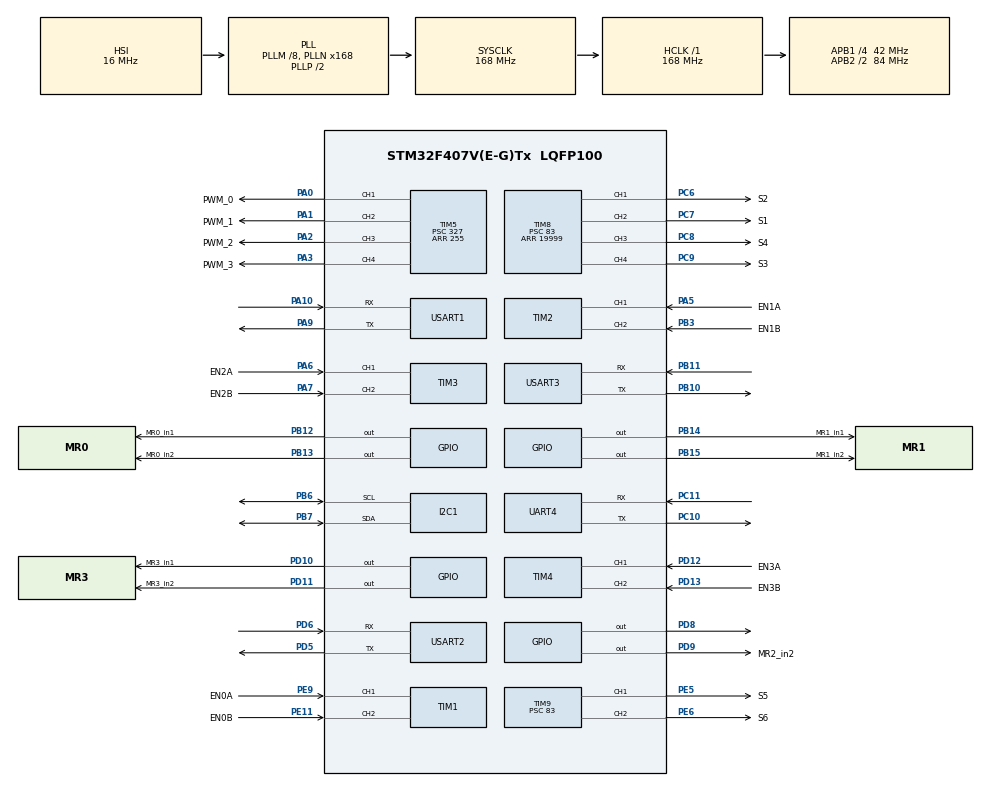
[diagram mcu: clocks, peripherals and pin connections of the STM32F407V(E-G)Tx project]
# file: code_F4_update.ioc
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FREERTOS.Tasks01=defaultTask,0,128,StartDefaultTask,Default,NULL,Dynamic,NULL,NULL;task01,-3,128,StartTask01,Default,NULL,Dynamic,NULL,NULL
Mcu.Family=STM32F4
Mcu.Name=STM32F407V(E-G)Tx
Mcu.Package=LQFP100
NVIC.PriorityGroup=NVIC_PRIORITYGROUP_4
NVIC.TIM6_DAC_IRQn=true\:15\:0\:false\:false\:true\:false\:false\:true\:true
NVIC.TimeBase=TIM6_DAC_IRQn
NVIC.TimeBaseIP=TIM6
NVIC.UART4_IRQn=true\:5\:0\:true\:false\:true\:true\:true\:true\:true
NVIC.USART1_IRQn=true\:5\:0\:true\:false\:true\:true\:true\:true\:true
NVIC.USART2_IRQn=true\:5\:0\:true\:false\:true\:true\:true\:true\:true
NVIC.USART3_IRQn=true\:5\:0\:true\:false\:true\:true\:true\:true\:true
PA0-WKUP.GPIO_Label=PWM_0
PA0-WKUP.Signal=S_TIM5_CH1
PA1.GPIO_Label=PWM_1
PA1.Signal=S_TIM5_CH2
PA10.Mode=Asynchronous
PA10.Signal=USART1_RX
PA13.Mode=Serial_Wire
PA13.Signal=SYS_JTMS-SWDIO
PA14.Mode=Serial_Wire
PA14.Signal=SYS_JTCK-SWCLK
PA2.GPIO_Label=PWM_2
PA2.Signal=S_TIM5_CH3
PA3.GPIO_Label=PWM_3
PA3.Signal=S_TIM5_CH4
PA5.GPIO_Label=EN1A
PA5.Signal=S_TIM2_CH1_ETR
PA6.GPIO_Label=EN2A
PA6.Signal=S_TIM3_CH1
PA7.GPIO_Label=EN2B
PA7.Signal=S_TIM3_CH2
PA9.Mode=Asynchronous
PA9.Signal=USART1_TX
PB10.Mode=Asynchronous
PB10.Signal=USART3_TX
PB11.Mode=Asynchronous
PB11.Signal=USART3_RX
PB12.GPIO_Label=MR0_in1
PB12.Signal=GPIO_Output
PB13.GPIO_Label=MR0_in2
PB13.Signal=GPIO_Output
PB14.GPIO_Label=MR1_in1
PB14.Signal=GPIO_Output
PB15.GPIO_Label=MR1_in2
PB15.Signal=GPIO_Output
PB3.GPIO_Label=EN1B
PB3.Signal=S_TIM2_CH2
PB6.Mode=I2C
PB6.Signal=I2C1_SCL
PB7.Mode=I2C
PB7.Signal=I2C1_SDA
PC10.Mode=Asynchronous
PC10.Signal=UART4_TX
PC11.Mode=Asynchronous
PC11.Signal=UART4_RX
PC6.GPIO_Label=S2
PC6.Signal=S_TIM8_CH1
PC7.GPIO_Label=S1
PC7.Signal=S_TIM8_CH2
PC8.GPIO_Label=S4
PC8.Signal=S_TIM8_CH3
PC9.GPIO_Label=S3
PC9.Signal=S_TIM8_CH4
PD10.GPIO_Label=MR3_in1
PD10.Signal=GPIO_Output
PD11.GPIO_Label=MR3_in2
PD11.Signal=GPIO_Output
PD12.GPIO_Label=EN3A
PD12.Signal=S_TIM4_CH1
PD13.GPIO_Label=EN3B
PD13.Signal=S_TIM4_CH2
PD5.Mode=Asynchronous
PD5.Signal=USART2_TX
PD6.Mode=Asynchronous
PD6.Signal=USART2_RX
PD8.Signal=GPIO_Output
PD9.GPIO_Label=MR2_in2
PD9.Signal=GPIO_Output
PE11.GPIO_Label=EN0B
PE11.Signal=S_TIM1_CH2
PE5.GPIO_Label=S5
PE5.Signal=S_TIM9_CH1
PE6.GPIO_Label=S6
PE6.Signal=S_TIM9_CH2
PE9.GPIO_Label=EN0A
PE9.Signal=S_TIM1_CH1
PH0-OSC_IN.Mode=HSE-External-Oscillator
PH0-OSC_IN.Signal=RCC_OSC_IN
PH1-OSC_OUT.Mode=HSE-External-Oscillator
PH1-OSC_OUT.Signal=RCC_OSC_OUT
ProjectManager.HeapSize=0x200
ProjectManager.StackSize=0x400
ProjectManager.TargetToolchain=STM32CubeIDE
RCC.48MHZClocksFreq_Value=84000000
RCC.AHBFreq_Value=168000000
RCC.APB1CLKDivider=RCC_HCLK_DIV4
RCC.APB1Freq_Value=42000000
RCC.APB1TimFreq_Value=84000000
RCC.APB2CLKDivider=RCC_HCLK_DIV2
RCC.APB2Freq_Value=84000000
RCC.APB2TimFreq_Value=168000000
RCC.CortexFreq_Value=168000000
RCC.HCLKFreq_Value=168000000
RCC.HSE_VALUE=25000000
RCC.HSI_VALUE=16000000
RCC.LSE_VALUE=32768
RCC.PLLM=8
RCC.PLLN=168
RCC.SYSCLKFreq_VALUE=168000000
RCC.SYSCLKSource=RCC_SYSCLKSOURCE_PLLCLK
RCC.VCOOutputFreq_Value=336000000
SH.S_TIM1_CH1.0=TIM1_CH1,Encoder_Interface
SH.S_TIM1_CH2.0=TIM1_CH2,Encoder_Interface
SH.S_TIM2_CH1_ETR.0=TIM2_CH1,Encoder_Interface
SH.S_TIM2_CH2.0=TIM2_CH2,Encoder_Interface
SH.S_TIM3_CH1.0=TIM3_CH1,Encoder_Interface
SH.S_TIM3_CH2.0=TIM3_CH2,Encoder_Interface
SH.S_TIM4_CH1.0=TIM4_CH1,Encoder_Interface
SH.S_TIM4_CH2.0=TIM4_CH2,Encoder_Interface
SH.S_TIM5_CH1.0=TIM5_CH1,PWM Generation1 CH1
SH.S_TIM5_CH2.0=TIM5_CH2,PWM Generation2 CH2
SH.S_TIM5_CH3.0=TIM5_CH3,PWM Generation3 CH3
SH.S_TIM5_CH4.0=TIM5_CH4,PWM Generation4 CH4
SH.S_TIM8_CH1.0=TIM8_CH1,PWM Generation1 CH1
SH.S_TIM8_CH2.0=TIM8_CH2,PWM Generation2 CH2
SH.S_TIM8_CH3.0=TIM8_CH3,PWM Generation3 CH3
SH.S_TIM8_CH4.0=TIM8_CH4,PWM Generation4 CH4
SH.S_TIM9_CH1.0=TIM9_CH1,PWM Generation1 CH1
SH.S_TIM9_CH2.0=TIM9_CH2,PWM Generation2 CH2
TIM2.EncoderMode=TIM_ENCODERMODE_TI2
TIM5.Channel-PWM\ Generation1\ CH1=TIM_CHANNEL_1
TIM5.Channel-PWM\ Generation2\ CH2=TIM_CHANNEL_2
TIM5.Channel-PWM\ Generation3\ CH3=TIM_CHANNEL_3
TIM5.Channel-PWM\ Generation4\ CH4=TIM_CHANNEL_4
TIM5.Period=255
TIM5.Prescaler=327
TIM8.Channel-PWM\ Generation1\ CH1=TIM_CHANNEL_1
TIM8.Channel-PWM\ Generation2\ CH2=TIM_CHANNEL_2
TIM8.Channel-PWM\ Generation3\ CH3=TIM_CHANNEL_3
TIM8.Channel-PWM\ Generation4\ CH4=TIM_CHANNEL_4
TIM8.Period=19999
TIM8.Prescaler=83
TIM9.Channel-PWM\ Generation1\ CH1=TIM_CHANNEL_1
TIM9.Channel-PWM\ Generation2\ CH2=TIM_CHANNEL_2
TIM9.Period=19999
TIM9.Prescaler=83
UART4.VirtualMode=Asynchronous
USART1.VirtualMode=VM_ASYNC
USART2.VirtualMode=VM_ASYNC
USART3.VirtualMode=VM_ASYNC
VP_FREERTOS_VS_CMSIS_V1.Mode=CMSIS_V1
VP_SYS_VS_tim6.Mode=TIM6
VP_TIM5_VS_ClockSourceINT.Mode=Internal
VP_TIM9_VS_ClockSourceINT.Mode=Internal
board=custom

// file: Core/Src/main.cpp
/* USER CODE BEGIN Header */
/**
  ******************************************************************************
  * @file           : main.c
  * @brief          : Main program body
  ******************************************************************************
  * @attention
  *
  * Copyright (c) 2025 STMicroelectronics.
  * All rights reserved.
  *
  * This software is licensed under terms that can be found in the LICENSE file
  * in the root directory of this software component.
  * If no LICENSE file comes with this software, it is provided AS-IS.
  *
  ******************************************************************************
  */
/* USER CODE END Header */
#include "main.h"

/* USER CODE BEGIN Includes */
#include "driver_robot.h"
#include "Uart.h"
#include "Servo.h"
#include "Map_robot.h"
/* USER CODE END Includes */

I2C_HandleTypeDef hi2c1;

TIM_HandleTypeDef htim1;
TIM_HandleTypeDef htim2;
TIM_HandleTypeDef htim3;
TIM_HandleTypeDef htim4;
TIM_HandleTypeDef htim5;
TIM_HandleTypeDef htim8;
TIM_HandleTypeDef htim9;

UART_HandleTypeDef huart4;
UART_HandleTypeDef huart1;
UART_HandleTypeDef huart2;
UART_HandleTypeDef huart3;

osThreadId task01Handle;
osThreadId task02Handle;

osMutexId pidMutex;

void SystemClock_Config(void);
static void MX_GPIO_Init(void);
static void MX_I2C1_Init(void);
static void MX_TIM1_Init(void);
static void MX_TIM2_Init(void);
static void MX_TIM3_Init(void);
static void MX_TIM4_Init(void);
static void MX_TIM5_Init(void);
static void MX_TIM8_Init(void);
static void MX_TIM9_Init(void);
static void MX_UART4_Init(void);
static void MX_USART1_UART_Init(void);
static void MX_USART2_UART_Init(void);
static void MX_USART3_UART_Init(void);
void StartTask01(void const * argument);
void StartTask02(void const * argument);

/* USER CODE BEGIN PFP */
/*
  0   1
  3   2
 */
Motor DC[4] = {
		Motor(&htim5, TIM_CHANNEL_1,GPIOB,GPIO_PIN_13,GPIOB,GPIO_PIN_12,450),
		Motor(&htim5, TIM_CHANNEL_2,GPIOB,GPIO_PIN_15,GPIOB,GPIO_PIN_14,-450),
		Motor(&htim5, TIM_CHANNEL_3,GPIOD,GPIO_PIN_9,GPIOD,GPIO_PIN_8,450),
		Motor(&htim5, TIM_CHANNEL_4,GPIOD,GPIO_PIN_11,GPIOD,GPIO_PIN_10,-450)
};

int16_t value;
int pwmm;
uint32_t v_adjust;

int16_t angle_goc  = 0;
int32_t pwm_out =0;
float kp=0,ki=0,kd=0;

/* USER CODE END PFP */

int main(void)
{

  /* MCU Configuration--------------------------------------------------------*/

  /* Reset of all peripherals, Initializes the Flash interface and the Systick. */
  HAL_Init();

  /* Configure the system clock */
  SystemClock_Config();

  /* Initialize all configured peripherals */
  MX_GPIO_Init();
  MX_I2C1_Init();
  MX_TIM1_Init();
  MX_TIM2_Init();
  MX_TIM3_Init();
  MX_TIM4_Init();
  MX_TIM5_Init();
  MX_TIM8_Init();
  MX_TIM9_Init();
  MX_UART4_Init();
  MX_USART1_UART_Init();
  MX_USART2_UART_Init();
  MX_USART3_UART_Init();
  /* USER CODE BEGIN 2 */
	HAL_TIM_PWM_Start(&htim5,TIM_CHANNEL_1);
	HAL_TIM_PWM_Start(&htim5,TIM_CHANNEL_2);
	HAL_TIM_PWM_Start(&htim5,TIM_CHANNEL_3);
	HAL_TIM_PWM_Start(&htim5,TIM_CHANNEL_4);

	HAL_TIM_PWM_Start(&htim8,TIM_CHANNEL_1);
	HAL_TIM_PWM_Start(&htim8,TIM_CHANNEL_2);
	HAL_TIM_PWM_Start(&htim8,TIM_CHANNEL_3);
	HAL_TIM_PWM_Start(&htim8,TIM_CHANNEL_4);

	HAL_TIM_PWM_Start(&htim9,TIM_CHANNEL_1);
	HAL_TIM_PWM_Start(&htim9,TIM_CHANNEL_2);

	HAL_TIM_Encoder_Start_IT(&htim1, TIM_CHANNEL_ALL);
	HAL_TIM_Encoder_Start_IT(&htim2, TIM_CHANNEL_ALL);
	HAL_TIM_Encoder_Start_IT(&htim3, TIM_CHANNEL_ALL);
	HAL_TIM_Encoder_Start_IT(&htim4, TIM_CHANNEL_ALL);

	HAL_TIM_Base_Start_IT(&htim1);
	HAL_TIM_Base_Start_IT(&htim2);
	HAL_TIM_Base_Start_IT(&htim3);
	HAL_TIM_Base_Start_IT(&htim4);

	__HAL_RCC_TIM1_CLK_ENABLE();
	__HAL_RCC_TIM2_CLK_ENABLE();
	__HAL_RCC_TIM3_CLK_ENABLE();
	__HAL_RCC_TIM4_CLK_ENABLE();
  /* USER CODE END 2 */

  /* USER CODE BEGIN RTOS_MUTEX */
	osMutexDef(pidMutex);
	pidMutex = osMutexCreate(osMutex(pidMutex));
  /* add mutexes, ... */
  /* USER CODE END RTOS_MUTEX */

  /* Create the thread(s) */
  /* definition and creation of task01 */
  osThreadDef(task01, StartTask01, osPriorityRealtime, 0, 128);
    task01Handle = osThreadCreate(osThread(task01), NULL);
  /* definition and creation of task02 */
  osThreadDef(task02, StartTask02, osPriorityHigh, 0, 128);
  task01Handle = osThreadCreate(osThread(task02), NULL);

  /* Start scheduler */
  osKernelStart();

  /* We should never get here as control is now taken by the scheduler */

  /* Infinite loop */
  while (1)
  {

  }
}

/* USER CODE END Header_StartDefaultTask */
void StartTask01(void const * argument)
{
  /* USER CODE BEGIN 5 */
  /* Infinite loop */
  while(1)
  {
	  if(osMutexWait(pidMutex, osWaitForever) == osOK) {
		  cnt2 = get_encoder(&cnt2,&level_count2,&htim2,10000);
		  	        speeden2 = get_speed(&cnt2,&speeden2,&level_count2,&htim2,1000,0);
	       cnt1 = get_encoder(&cnt1,&level_count1,&htim1,10000);
	        		speeden1 = get_speed(&cnt1,&speeden1,&level_count1,&htim1,1000,1);
	       really_speed = abs((int32_t)((speeden1 - speeden2) / 2.0));
	       //target_speed = (6000/7)*receivedPacket.var1;
	       target_speed = (int32_t)(6000/7)*0.25;
	        pwm_out = pid_speed(&really_speed,&target_speed,0.9,0.7,0.03);
	        osMutexRelease(pidMutex);
	        uart2();
	      }

      osDelay(100);
  }
  /* USER CODE END 5 */
}

void StartTask02(void const * argument)
{
  /* USER CODE BEGIN StartTask01 */
  /* Infinite loop */
  while(1)
  {
	 if(osMutexWait(pidMutex, osWaitForever) == osOK) {
		 ps3_pid_double(abs(pwm_out));
		 angle_goc = compass();
		 //ps3_pid();

			 static bool flag = true;
			  if (but_data == button_L1 && flag ){
				  	kp += 0.05;
				  	flag = false;
			  }
			  else if (but_data == button_L2 && flag){
			  		kp-= 0.05;
			  		flag = false;
			  }
			  else if (but_data == button_right && flag ){
			  		  	ki += 0.01;
			  		  	flag = false;
			  	  }
			  else if (but_data == button_left && flag){
			  	  		ki-= 0.01;
			  	  		flag = false;
			  	  }
			 else if (but_data == button_triangle && flag ){
			  		  	kd += 0.01;
			  		  	flag = false;
			  	  }
			else if (but_data == button_cross && flag){
			  	  		kd-= 0.01;
			  	  		flag = false;
			  	  }
			 else if (but_data == button_square && flag ){
				  		  	target_speed += 10;
				  		  	flag = false;
				  	  }
				else if (but_data == button_circle && flag){
							target_speed-= 10;
				  	  		flag = false;
				  	  }

			else if (but_data == 0 )flag = true;

	      osMutexRelease(pidMutex);
	 }

    //osDelay(1);
  }
  /* USER CODE END StartTask01 */
}

void SystemClock_Config(void)
{
  RCC_OscInitTypeDef RCC_OscInitStruct = {0};
  RCC_ClkInitTypeDef RCC_ClkInitStruct = {0};

  /** Configure the main internal regulator output voltage
  */
  __HAL_RCC_PWR_CLK_ENABLE();
  __HAL_PWR_VOLTAGESCALING_CONFIG(PWR_REGULATOR_VOLTAGE_SCALE1);

  /** Initializes the RCC Oscillators according to the specified parameters
  * in the RCC_OscInitTypeDef structure.
  */
  RCC_OscInitStruct.OscillatorType = RCC_OSCILLATORTYPE_HSI;
  RCC_OscInitStruct.HSIState = RCC_HSI_ON;
  RCC_OscInitStruct.HSICalibrationValue = RCC_HSICALIBRATION_DEFAULT;
  RCC_OscInitStruct.PLL.PLLState = RCC_PLL_ON;
  RCC_OscInitStruct.PLL.PLLSource = RCC_PLLSOURCE_HSI;
  RCC_OscInitStruct.PLL.PLLM = 8;
  RCC_OscInitStruct.PLL.PLLN = 168;
  RCC_OscInitStruct.PLL.PLLP = RCC_PLLP_DIV2;
  RCC_OscInitStruct.PLL.PLLQ = 4;
  if (HAL_RCC_OscConfig(&RCC_OscInitStruct) != HAL_OK)
  {
    Error_Handler();
  }

  /** Initializes the CPU, AHB and APB buses clocks
  */
  RCC_ClkInitStruct.ClockType = RCC_CLOCKTYPE_HCLK|RCC_CLOCKTYPE_SYSCLK
                              |RCC_CLOCKTYPE_PCLK1|RCC_CLOCKTYPE_PCLK2;
  RCC_ClkInitStruct.SYSCLKSource = RCC_SYSCLKSOURCE_PLLCLK;
  RCC_ClkInitStruct.AHBCLKDivider = RCC_SYSCLK_DIV1;
  RCC_ClkInitStruct.APB1CLKDivider = RCC_HCLK_DIV4;
  RCC_ClkInitStruct.APB2CLKDivider = RCC_HCLK_DIV2;

  if (HAL_RCC_ClockConfig(&RCC_ClkInitStruct, FLASH_LATENCY_5) != HAL_OK)
  {
    Error_Handler();
  }
}

static void MX_I2C1_Init(void)
{

  hi2c1.Instance = I2C1;
  hi2c1.Init.ClockSpeed = 100000;
  hi2c1.Init.DutyCycle = I2C_DUTYCYCLE_2;
  hi2c1.Init.OwnAddress1 = 0;
  hi2c1.Init.AddressingMode = I2C_ADDRESSINGMODE_7BIT;
  hi2c1.Init.DualAddressMode = I2C_DUALADDRESS_DISABLE;
  hi2c1.Init.OwnAddress2 = 0;
  hi2c1.Init.GeneralCallMode = I2C_GENERALCALL_DISABLE;
  hi2c1.Init.NoStretchMode = I2C_NOSTRETCH_DISABLE;
  if (HAL_I2C_Init(&hi2c1) != HAL_OK)
  {
    Error_Handler();
  }

}

static void MX_TIM1_Init(void)
{

  TIM_Encoder_InitTypeDef sConfig = {0};
  TIM_MasterConfigTypeDef sMasterConfig = {0};

  htim1.Instance = TIM1;
  htim1.Init.Prescaler = 0;
  htim1.Init.CounterMode = TIM_COUNTERMODE_UP;
  htim1.Init.Period = 65535;
  htim1.Init.ClockDivision = TIM_CLOCKDIVISION_DIV1;
  htim1.Init.RepetitionCounter = 0;
  htim1.Init.AutoReloadPreload = TIM_AUTORELOAD_PRELOAD_DISABLE;
  sConfig.EncoderMode = TIM_ENCODERMODE_TI1;
  sConfig.IC1Polarity = TIM_ICPOLARITY_RISING;
  sConfig.IC1Selection = TIM_ICSELECTION_DIRECTTI;
  sConfig.IC1Prescaler = TIM_ICPSC_DIV1;
  sConfig.IC1Filter = 0;
  sConfig.IC2Polarity = TIM_ICPOLARITY_RISING;
  sConfig.IC2Selection = TIM_ICSELECTION_DIRECTTI;
  sConfig.IC2Prescaler = TIM_ICPSC_DIV1;
  sConfig.IC2Filter = 0;
  if (HAL_TIM_Encoder_Init(&htim1, &sConfig) != HAL_OK)
  {
    Error_Handler();
  }
  sMasterConfig.MasterOutputTrigger = TIM_TRGO_RESET;
  sMasterConfig.MasterSlaveMode = TIM_MASTERSLAVEMODE_DISABLE;
  if (HAL_TIMEx_MasterConfigSynchronization(&htim1, &sMasterConfig) != HAL_OK)
  {
    Error_Handler();
  }

}

static void MX_TIM2_Init(void)
{

  TIM_Encoder_InitTypeDef sConfig = {0};
  TIM_MasterConfigTypeDef sMasterConfig = {0};

  htim2.Instance = TIM2;
  htim2.Init.Prescaler = 0;
  htim2.Init.CounterMode = TIM_COUNTERMODE_UP;
  htim2.Init.Period = 4294967295;
  htim2.Init.ClockDivision = TIM_CLOCKDIVISION_DIV1;
  htim2.Init.AutoReloadPreload = TIM_AUTORELOAD_PRELOAD_DISABLE;
  sConfig.EncoderMode = TIM_ENCODERMODE_TI2;
  sConfig.IC1Polarity = TIM_ICPOLARITY_RISING;
  sConfig.IC1Selection = TIM_ICSELECTION_DIRECTTI;
  sConfig.IC1Prescaler = TIM_ICPSC_DIV1;
  sConfig.IC1Filter = 0;
  sConfig.IC2Polarity = TIM_ICPOLARITY_RISING;
  sConfig.IC2Selection = TIM_ICSELECTION_DIRECTTI;
  sConfig.IC2Prescaler = TIM_ICPSC_DIV1;
  sConfig.IC2Filter = 0;
  if (HAL_TIM_Encoder_Init(&htim2, &sConfig) != HAL_OK)
  {
    Error_Handler();
  }
  sMasterConfig.MasterOutputTrigger = TIM_TRGO_RESET;
  sMasterConfig.MasterSlaveMode = TIM_MASTERSLAVEMODE_DISABLE;
  if (HAL_TIMEx_MasterConfigSynchronization(&htim2, &sMasterConfig) != HAL_OK)
  {
    Error_Handler();
  }

}

static void MX_TIM3_Init(void)
{

  TIM_Encoder_InitTypeDef sConfig = {0};
  TIM_MasterConfigTypeDef sMasterConfig = {0};

  htim3.Instance = TIM3;
  htim3.Init.Prescaler = 0;
  htim3.Init.CounterMode = TIM_COUNTERMODE_UP;
  htim3.Init.Period = 65535;
  htim3.Init.ClockDivision = TIM_CLOCKDIVISION_DIV1;
  htim3.Init.AutoReloadPreload = TIM_AUTORELOAD_PRELOAD_DISABLE;
  sConfig.EncoderMode = TIM_ENCODERMODE_TI1;
  sConfig.IC1Polarity = TIM_ICPOLARITY_RISING;
  sConfig.IC1Selection = TIM_ICSELECTION_DIRECTTI;
  sConfig.IC1Prescaler = TIM_ICPSC_DIV1;
  sConfig.IC1Filter = 0;
  sConfig.IC2Polarity = TIM_ICPOLARITY_RISING;
  sConfig.IC2Selection = TIM_ICSELECTION_DIRECTTI;
  sConfig.IC2Prescaler = TIM_ICPSC_DIV1;
  sConfig.IC2Filter = 0;
  if (HAL_TIM_Encoder_Init(&htim3, &sConfig) != HAL_OK)
  {
    Error_Handler();
  }
  sMasterConfig.MasterOutputTrigger = TIM_TRGO_RESET;
  sMasterConfig.MasterSlaveMode = TIM_MASTERSLAVEMODE_DISABLE;
  if (HAL_TIMEx_MasterConfigSynchronization(&htim3, &sMasterConfig) != HAL_OK)
  {
    Error_Handler();
  }

}

static void MX_TIM4_Init(void)
{

  TIM_Encoder_InitTypeDef sConfig = {0};
  TIM_MasterConfigTypeDef sMasterConfig = {0};

  htim4.Instance = TIM4;
  htim4.Init.Prescaler = 0;
  htim4.Init.CounterMode = TIM_COUNTERMODE_UP;
  htim4.Init.Period = 65535;
  htim4.Init.ClockDivision = TIM_CLOCKDIVISION_DIV1;
  htim4.Init.AutoReloadPreload = TIM_AUTORELOAD_PRELOAD_DISABLE;
  sConfig.EncoderMode = TIM_ENCODERMODE_TI1;
  sConfig.IC1Polarity = TIM_ICPOLARITY_RISING;
  sConfig.IC1Selection = TIM_ICSELECTION_DIRECTTI;
  sConfig.IC1Prescaler = TIM_ICPSC_DIV1;
  sConfig.IC1Filter = 0;
  sConfig.IC2Polarity = TIM_ICPOLARITY_RISING;
  sConfig.IC2Selection = TIM_ICSELECTION_DIRECTTI;
  sConfig.IC2Prescaler = TIM_ICPSC_DIV1;
  sConfig.IC2Filter = 0;
  if (HAL_TIM_Encoder_Init(&htim4, &sConfig) != HAL_OK)
  {
    Error_Handler();
  }
  sMasterConfig.MasterOutputTrigger = TIM_TRGO_RESET;
  sMasterConfig.MasterSlaveMode = TIM_MASTERSLAVEMODE_DISABLE;
  if (HAL_TIMEx_MasterConfigSynchronization(&htim4, &sMasterConfig) != HAL_OK)
  {
    Error_Handler();
  }

}

static void MX_TIM5_Init(void)
{

  TIM_ClockConfigTypeDef sClockSourceConfig = {0};
  TIM_MasterConfigTypeDef sMasterConfig = {0};
  TIM_OC_InitTypeDef sConfigOC = {0};

  htim5.Instance = TIM5;
  htim5.Init.Prescaler = 327;
  htim5.Init.CounterMode = TIM_COUNTERMODE_UP;
  htim5.Init.Period = 255;
  htim5.Init.ClockDivision = TIM_CLOCKDIVISION_DIV1;
  htim5.Init.AutoReloadPreload = TIM_AUTORELOAD_PRELOAD_DISABLE;
  if (HAL_TIM_Base_Init(&htim5) != HAL_OK)
  {
    Error_Handler();
  }
  sClockSourceConfig.ClockSource = TIM_CLOCKSOURCE_INTERNAL;
  if (HAL_TIM_ConfigClockSource(&htim5, &sClockSourceConfig) != HAL_OK)
  {
    Error_Handler();
  }
  if (HAL_TIM_PWM_Init(&htim5) != HAL_OK)
  {
    Error_Handler();
  }
  sMasterConfig.MasterOutputTrigger = TIM_TRGO_RESET;
  sMasterConfig.MasterSlaveMode = TIM_MASTERSLAVEMODE_DISABLE;
  if (HAL_TIMEx_MasterConfigSynchronization(&htim5, &sMasterConfig) != HAL_OK)
  {
    Error_Handler();
  }
  sConfigOC.OCMode = TIM_OCMODE_PWM1;
  sConfigOC.Pulse = 0;
  sConfigOC.OCPolarity = TIM_OCPOLARITY_HIGH;
  sConfigOC.OCFastMode = TIM_OCFAST_DISABLE;
  if (HAL_TIM_PWM_ConfigChannel(&htim5, &sConfigOC, TIM_CHANNEL_1) != HAL_OK)
  {
    Error_Handler();
  }
  if (HAL_TIM_PWM_ConfigChannel(&htim5, &sConfigOC, TIM_CHANNEL_2) != HAL_OK)
  {
    Error_Handler();
  }
  if (HAL_TIM_PWM_ConfigChannel(&htim5, &sConfigOC, TIM_CHANNEL_3) != HAL_OK)
  {
    Error_Handler();
  }
  if (HAL_TIM_PWM_ConfigChannel(&htim5, &sConfigOC, TIM_CHANNEL_4) != HAL_OK)
  {
    Error_Handler();
  }
  HAL_TIM_MspPostInit(&htim5);

}

static void MX_TIM8_Init(void)
{

  TIM_MasterConfigTypeDef sMasterConfig = {0};
  TIM_OC_InitTypeDef sConfigOC = {0};
  TIM_BreakDeadTimeConfigTypeDef sBreakDeadTimeConfig = {0};

  htim8.Instance = TIM8;
  htim8.Init.Prescaler = 83;
  htim8.Init.CounterMode = TIM_COUNTERMODE_UP;
  htim8.Init.Period = 19999;
  htim8.Init.ClockDivision = TIM_CLOCKDIVISION_DIV1;
  htim8.Init.RepetitionCounter = 0;
  htim8.Init.AutoReloadPreload = TIM_AUTORELOAD_PRELOAD_DISABLE;
  if (HAL_TIM_PWM_Init(&htim8) != HAL_OK)
  {
    Error_Handler();
  }
  sMasterConfig.MasterOutputTrigger = TIM_TRGO_RESET;
  sMasterConfig.MasterSlaveMode = TIM_MASTERSLAVEMODE_DISABLE;
  if (HAL_TIMEx_MasterConfigSynchronization(&htim8, &sMasterConfig) != HAL_OK)
  {
    Error_Handler();
  }
  sConfigOC.OCMode = TIM_OCMODE_PWM1;
  sConfigOC.Pulse = 0;
  sConfigOC.OCPolarity = TIM_OCPOLARITY_HIGH;
  sConfigOC.OCNPolarity = TIM_OCNPOLARITY_HIGH;
  sConfigOC.OCFastMode = TIM_OCFAST_DISABLE;
  sConfigOC.OCIdleState = TIM_OCIDLESTATE_RESET;
  sConfigOC.OCNIdleState = TIM_OCNIDLESTATE_RESET;
  if (HAL_TIM_PWM_ConfigChannel(&htim8, &sConfigOC, TIM_CHANNEL_1) != HAL_OK)
  {
    Error_Handler();
  }
  if (HAL_TIM_PWM_ConfigChannel(&htim8, &sConfigOC, TIM_CHANNEL_2) != HAL_OK)
  {
    Error_Handler();
  }
  if (HAL_TIM_PWM_ConfigChannel(&htim8, &sConfigOC, TIM_CHANNEL_3) != HAL_OK)
  {
    Error_Handler();
  }
  if (HAL_TIM_PWM_ConfigChannel(&htim8, &sConfigOC, TIM_CHANNEL_4) != HAL_OK)
  {
    Error_Handler();
  }
  sBreakDeadTimeConfig.OffStateRunMode = TIM_OSSR_DISABLE;
  sBreakDeadTimeConfig.OffStateIDLEMode = TIM_OSSI_DISABLE;
  sBreakDeadTimeConfig.LockLevel = TIM_LOCKLEVEL_OFF;
  sBreakDeadTimeConfig.DeadTime = 0;
  sBreakDeadTimeConfig.BreakState = TIM_BREAK_DISABLE;
  sBreakDeadTimeConfig.BreakPolarity = TIM_BREAKPOLARITY_HIGH;
  sBreakDeadTimeConfig.AutomaticOutput = TIM_AUTOMATICOUTPUT_DISABLE;
  if (HAL_TIMEx_ConfigBreakDeadTime(&htim8, &sBreakDeadTimeConfig) != HAL_OK)
  {
    Error_Handler();
  }
  HAL_TIM_MspPostInit(&htim8);

}

static void MX_TIM9_Init(void)
{

  TIM_ClockConfigTypeDef sClockSourceConfig = {0};
  TIM_OC_InitTypeDef sConfigOC = {0};

  htim9.Instance = TIM9;
  htim9.Init.Prescaler = 83;
  htim9.Init.CounterMode = TIM_COUNTERMODE_UP;
  htim9.Init.Period = 19999;
  htim9.Init.ClockDivision = TIM_CLOCKDIVISION_DIV1;
  htim9.Init.AutoReloadPreload = TIM_AUTORELOAD_PRELOAD_DISABLE;
  if (HAL_TIM_Base_Init(&htim9) != HAL_OK)
  {
    Error_Handler();
  }
  sClockSourceConfig.ClockSource = TIM_CLOCKSOURCE_INTERNAL;
  if (HAL_TIM_ConfigClockSource(&htim9, &sClockSourceConfig) != HAL_OK)
  {
    Error_Handler();
  }
  if (HAL_TIM_PWM_Init(&htim9) != HAL_OK)
  {
    Error_Handler();
  }
  sConfigOC.OCMode = TIM_OCMODE_PWM1;
  sConfigOC.Pulse = 0;
  sConfigOC.OCPolarity = TIM_OCPOLARITY_HIGH;
  sConfigOC.OCFastMode = TIM_OCFAST_DISABLE;
  if (HAL_TIM_PWM_ConfigChannel(&htim9, &sConfigOC, TIM_CHANNEL_1) != HAL_OK)
  {
    Error_Handler();
  }
  if (HAL_TIM_PWM_ConfigChannel(&htim9, &sConfigOC, TIM_CHANNEL_2) != HAL_OK)
  {
    Error_Handler();
  }
  HAL_TIM_MspPostInit(&htim9);

}

static void MX_UART4_Init(void)
{

  huart4.Instance = UART4;
  huart4.Init.BaudRate = 115200;
  huart4.Init.WordLength = UART_WORDLENGTH_8B;
  huart4.Init.StopBits = UART_STOPBITS_1;
  huart4.Init.Parity = UART_PARITY_NONE;
  huart4.Init.Mode = UART_MODE_TX_RX;
  huart4.Init.HwFlowCtl = UART_HWCONTROL_NONE;
  huart4.Init.OverSampling = UART_OVERSAMPLING_16;
  if (HAL_UART_Init(&huart4) != HAL_OK)
  {
    Error_Handler();
  }

}

static void MX_USART1_UART_Init(void)
{

  huart1.Instance = USART1;
  huart1.Init.BaudRate = 115200;
  huart1.Init.WordLength = UART_WORDLENGTH_8B;
  huart1.Init.StopBits = UART_STOPBITS_1;
  huart1.Init.Parity = UART_PARITY_NONE;
  huart1.Init.Mode = UART_MODE_TX_RX;
  huart1.Init.HwFlowCtl = UART_HWCONTROL_NONE;
  huart1.Init.OverSampling = UART_OVERSAMPLING_16;
  if (HAL_UART_Init(&huart1) != HAL_OK)
  {
    Error_Handler();
  }

}

static void MX_USART2_UART_Init(void)
{

  huart2.Instance = USART2;
  huart2.Init.BaudRate = 115200;
  huart2.Init.WordLength = UART_WORDLENGTH_8B;
  huart2.Init.StopBits = UART_STOPBITS_1;
  huart2.Init.Parity = UART_PARITY_NONE;
  huart2.Init.Mode = UART_MODE_TX_RX;
  huart2.Init.HwFlowCtl = UART_HWCONTROL_NONE;
  huart2.Init.OverSampling = UART_OVERSAMPLING_16;
  if (HAL_UART_Init(&huart2) != HAL_OK)
  {
    Error_Handler();
  }

}

static void MX_USART3_UART_Init(void)
{

  huart3.Instance = USART3;
  huart3.Init.BaudRate = 115200;
  huart3.Init.WordLength = UART_WORDLENGTH_8B;
  huart3.Init.StopBits = UART_STOPBITS_1;
  huart3.Init.Parity = UART_PARITY_NONE;
  huart3.Init.Mode = UART_MODE_TX_RX;
  huart3.Init.HwFlowCtl = UART_HWCONTROL_NONE;
  huart3.Init.OverSampling = UART_OVERSAMPLING_16;
  if (HAL_UART_Init(&huart3) != HAL_OK)
  {
    Error_Handler();
  }

}

static void MX_GPIO_Init(void)
{
  GPIO_InitTypeDef GPIO_InitStruct = {0};

  /* GPIO Ports Clock Enable */
  __HAL_RCC_GPIOE_CLK_ENABLE();
  __HAL_RCC_GPIOH_CLK_ENABLE();
  __HAL_RCC_GPIOA_CLK_ENABLE();
  __HAL_RCC_GPIOB_CLK_ENABLE();
  __HAL_RCC_GPIOD_CLK_ENABLE();
  __HAL_RCC_GPIOC_CLK_ENABLE();

  /*Configure GPIO pin Output Level */
  HAL_GPIO_WritePin(GPIOB, MR0_in1_Pin|MR0_in2_Pin|MR1_in1_Pin|MR1_in2_Pin, GPIO_PIN_RESET);

  /*Configure GPIO pin Output Level */
  HAL_GPIO_WritePin(GPIOD, GPIO_PIN_8|MR2_in2_Pin|MR3_in1_Pin|MR3_in2_Pin, GPIO_PIN_RESET);

  /*Configure GPIO pins : MR0_in1_Pin MR0_in2_Pin MR1_in1_Pin MR1_in2_Pin */
  GPIO_InitStruct.Pin = MR0_in1_Pin|MR0_in2_Pin|MR1_in1_Pin|MR1_in2_Pin;
  GPIO_InitStruct.Mode = GPIO_MODE_OUTPUT_PP;
  GPIO_InitStruct.Pull = GPIO_NOPULL;
  GPIO_InitStruct.Speed = GPIO_SPEED_FREQ_LOW;
  HAL_GPIO_Init(GPIOB, &GPIO_InitStruct);

  /*Configure GPIO pins : PD8 MR2_in2_Pin MR3_in1_Pin MR3_in2_Pin */
  GPIO_InitStruct.Pin = GPIO_PIN_8|MR2_in2_Pin|MR3_in1_Pin|MR3_in2_Pin;
  GPIO_InitStruct.Mode = GPIO_MODE_OUTPUT_PP;
  GPIO_InitStruct.Pull = GPIO_NOPULL;
  GPIO_InitStruct.Speed = GPIO_SPEED_FREQ_LOW;
  HAL_GPIO_Init(GPIOD, &GPIO_InitStruct);

}

/* USER CODE BEGIN Header_StartDefaultTask */

void HAL_TIM_PeriodElapsedCallback(TIM_HandleTypeDef *htim)
{
  if (htim->Instance == TIM6) {
    HAL_IncTick();
  }
}

void Error_Handler(void)
{
  __disable_irq();
  while (1)
  {
  }
}
